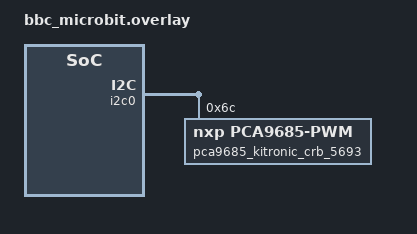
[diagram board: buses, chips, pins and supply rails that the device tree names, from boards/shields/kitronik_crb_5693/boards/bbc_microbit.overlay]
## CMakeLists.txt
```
# SPDX-License-Identifier: Apache-2.0

cmake_minimum_required(VERSION 3.20.0)

# Define board root to find our custom shield
set(BOARD_ROOT ${CMAKE_SOURCE_DIR})

# Default board to microbit v2
if (NOT DEFINED ${BOARD})
  set(BOARD bbc_microbit_v2)
endif()

set(SHIELD kitronik_crb_5693)


find_package(Zephyr REQUIRED HINTS $ENV{ZEPHYR_BASE})
project(slashbitbot)

FILE(GLOB app_sources src/*.cpp)
target_sources(app PRIVATE ${app_sources})
```

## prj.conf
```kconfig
CONFIG_GPIO=y
CONFIG_DISPLAY=y
CONFIG_MICROBIT_DISPLAY=y
CONFIG_CPP=y
CONFIG_STD_CPP20=y
CONFIG_GLIBCXX_LIBCPP=y
CONFIG_REBOOT=y
CONFIG_CBPRINTF_FP_SUPPORT=y
CONFIG_NRFX_NFCT=n
CONFIG_FPU=y
CONFIG_FPU_SHARING=y
CONFIG_FLASH=y
CONFIG_FLASH_PAGE_LAYOUT=y
CONFIG_NVS=y
CONFIG_LOG_MODE_IMMEDIATE=y
CONFIG_NVS_LOG_LEVEL_DBG=y
CONFIG_MPU_ALLOW_FLASH_WRITE=y
```

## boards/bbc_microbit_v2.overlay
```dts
&nfct {
        status = "disabled";
};

&uicr { 
        nfct-pins-as-gpios; 
};

/ {                                                                                                  
        zephyr,user {                                                                                
                left-wheel-gpios = <&edge_connector 9 GPIO_ACTIVE_LOW>;
                right-wheel-gpios = <&edge_connector 8 GPIO_ACTIVE_LOW>;
        };                                                                                           

};
```

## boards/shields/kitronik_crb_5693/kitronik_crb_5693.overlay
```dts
/*                                                                                                   
 * Copyright (c) 2023 Jaap Versteegh <j.r.versteegh@gmail.com>                                                 
 *                                                                                                   
 * SPDX-License-Identifier: Apache-2.0                                                               
 */                                                                                                  

/ {                                                                                                  

  servos {
    compatible = "pwm-servos";                                                             
    servo0: servo_0 {                                                                                    
      pwms = <&pca9685_kitronic_crb_5693 0 PWM_MSEC(40)>;
      min-pulse = <PWM_USEC(700)>;
      max-pulse = <PWM_USEC(2500)>;
    };

    servo1: servo_1 {                                                                                    
      pwms = <&pca9685_kitronic_crb_5693 1 PWM_MSEC(40)>;
      min-pulse = <PWM_USEC(700)>;
      max-pulse = <PWM_USEC(2500)>;
    };

    servo2: servo_2 {                                                                                    
      pwms = <&pca9685_kitronic_crb_5693 2 PWM_MSEC(40)>;
      min-pulse = <PWM_USEC(700)>;
      max-pulse = <PWM_USEC(2500)>;
    };

    servo3: servo_3 {                                                                                    
      pwms = <&pca9685_kitronic_crb_5693 3 PWM_MSEC(40)>;
      min-pulse = <PWM_USEC(700)>;
      max-pulse = <PWM_USEC(2500)>;
    };

    servo4: servo_4 {                                                                                    
      pwms = <&pca9685_kitronic_crb_5693 4 PWM_MSEC(40)>;
      min-pulse = <PWM_USEC(700)>;
      max-pulse = <PWM_USEC(2500)>;
    };

    servo5: servo_5 {                                                                                    
      pwms = <&pca9685_kitronic_crb_5693 5 PWM_MSEC(40)>;
      min-pulse = <PWM_USEC(700)>;
      max-pulse = <PWM_USEC(2500)>;
    };

    servo6: servo_6 {                                                                                    
      pwms = <&pca9685_kitronic_crb_5693 6 PWM_MSEC(40)>;
      min-pulse = <PWM_USEC(700)>;
      max-pulse = <PWM_USEC(2500)>;
    };

    servo7: servo_7 {                                                                                    
      pwms = <&pca9685_kitronic_crb_5693 7 PWM_MSEC(40)>;
      min-pulse = <PWM_USEC(700)>;
      max-pulse = <PWM_USEC(2500)>;
    };
  };

  motors {
    compatible = "pwm-motors";                                                             

    motor0: motor_0 {                                                                                    
      pwms = <&pca9685_kitronic_crb_5693 9 PWM_MSEC(40)>,
             <&pca9685_kitronic_crb_5693 8 PWM_MSEC(40)>;
    };

    motor1: motor_1 {                                                                                    
      pwms = <&pca9685_kitronic_crb_5693 11 PWM_MSEC(40)>,
             <&pca9685_kitronic_crb_5693 10 PWM_MSEC(40)>;
    };

    motor2: motor_2 {                                                                                    
      pwms = <&pca9685_kitronic_crb_5693 13 PWM_MSEC(40)>,
             <&pca9685_kitronic_crb_5693 12 PWM_MSEC(40)>;
    };

    motor3: motor_3 {                                                                                    
      pwms = <&pca9685_kitronic_crb_5693 15 PWM_MSEC(40)>,
             <&pca9685_kitronic_crb_5693 14 PWM_MSEC(40)>;
    };
  };

};
```

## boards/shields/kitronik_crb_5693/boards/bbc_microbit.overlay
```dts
/*                                                                                                   
 * Copyright (c) 2023 Jaap Versteegh <j.r.versteegh@gmail.com>                                                 
 *                                                                                                   
 * SPDX-License-Identifier: Apache-2.0                                                               
 */                                                                                                  

&i2c0 {
  pca9685_kitronic_crb_5693: pca9685@6c {                                                      
    status = "okay";                                                                    
    compatible = "nxp,pca9685-pwm";                                                     
    reg = <0x6c>;                                                                       
    #pwm-cells = <2>;                                                                   
  };
};
```

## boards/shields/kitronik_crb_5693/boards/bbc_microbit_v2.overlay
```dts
/*                                                                                                   
 * Copyright (c) 2023 Jaap Versteegh <j.r.versteegh@gmail.com>                                                 
 *                                                                                                   
 * SPDX-License-Identifier: Apache-2.0                                                               
 */                                                                                                  

&i2c1 {
  status = "okay";
  clock-frequency = <I2C_BITRATE_FAST>;

  pinctrl-0 = <&i2c1_default>;
  pinctrl-1 = <&i2c1_sleep>;
  pinctrl-names = "default", "sleep";

  pca9685_kitronic_crb_5693: pca9685@6c {                                                      
    status = "okay";                                                                    
    compatible = "nxp,pca9685-pwm";                                                     
    reg = <0x6c>;                                                                       
    #pwm-cells = <2>;                                                                   
  };
};                                                                                                   

&pinctrl {
  i2c1_default: i2c1_default {
    group1 {
      psels = <NRF_PSEL(TWIM_SDA, 1, 0)>,
              <NRF_PSEL(TWIM_SCL, 0, 26)>;
    };
  };

  i2c1_sleep: i2c1_sleep {
    group1 {
      psels = <NRF_PSEL(TWIM_SDA, 1, 0)>,
              <NRF_PSEL(TWIM_SCL, 0, 26)>;
      low-power-enable;
    };
  };
};
```

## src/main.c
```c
/*
 * Copyright (c) 2017 Intel Corporation
 *
 * SPDX-License-Identifier: Apache-2.0
 */

#include <zephyr/kernel.h>
#include <zephyr/sys/printk.h>
#include <zephyr/drivers/gpio.h>
#include <zephyr/device.h>
#include <zephyr/drivers/sensor.h>
#include <zephyr/drivers/pwm.h>
#include <zephyr/drivers/i2c.h>
#include <zephyr/display/mb_display.h>
#include <zephyr/sys/reboot.h>

static struct mb_image smile = MB_IMAGE(
    { 0, 1, 0, 1, 0 },
    { 0, 1, 0, 1, 0 },
    { 0, 0, 0, 0, 0 },
    { 1, 0, 0, 0, 1 },
    { 0, 1, 1, 1, 0 }
);

static struct mb_image laugh1 = MB_IMAGE(
    { 1, 1, 0, 1, 1 },
    { 0, 0, 0, 0, 0 },
    { 1, 1, 1, 1, 1 },
    { 1, 0, 0, 0, 1 },
    { 0, 1, 1, 1, 0 }
);
static struct mb_image laugh2 = MB_IMAGE(
    { 1, 1, 0, 1, 1 },
    { 0, 0, 0, 0, 0 },
    { 1, 0, 0, 0, 1 },
    { 1, 1, 1, 1, 1 },
    { 0, 1, 1, 1, 0 }
);

static struct mb_image sad1 = MB_IMAGE(
    { 1, 0, 0, 0, 0 },
    { 0, 1, 0, 1, 1 },
    { 0, 0, 0, 0, 0 },
    { 0, 1, 1, 1, 0 },
    { 1, 0, 0, 0, 1 }
);
static struct mb_image sad2 = MB_IMAGE(
    { 0, 0, 0, 0, 1 },
    { 1, 1, 0, 1, 0 },
    { 0, 0, 0, 0, 0 },
    { 0, 1, 1, 1, 0 },
    { 1, 0, 0, 0, 1 }
);
static struct mb_image sad3 = MB_IMAGE(
    { 1, 0, 0, 0, 1 },
    { 0, 1, 0, 1, 0 },
    { 0, 0, 0, 0, 0 },
    { 0, 1, 1, 1, 0 },
    { 1, 0, 0, 0, 1 }
);
static struct mb_image sad4 = MB_IMAGE(
    { 0, 0, 0, 0, 0 },
    { 1, 1, 0, 1, 1 },
    { 0, 0, 0, 0, 0 },
    { 0, 1, 1, 1, 0 },
    { 1, 0, 0, 0, 1 }
);

static struct mb_image woot = MB_IMAGE(
    { 1, 1, 0, 1, 1 },
    { 0, 0, 0, 0, 0 },
    { 0, 0, 1, 0, 0 },
    { 0, 1, 0, 1, 0 },
    { 0, 0, 1, 0, 0 }
);

static double x = 0.0;
static double y = 0.0;
static double z = 0.0;

static int32_t read_sensor(const struct device *sensor,
    enum sensor_channel channel)
{
  struct sensor_value val[3];
  int32_t ret = 0;

  ret = sensor_sample_fetch(sensor);
  if (ret < 0 && ret != -EBADMSG) {
    printk("Sensor sample update error\n");
    goto end;
  }

  ret = sensor_channel_get(sensor, channel, val);
  if (ret < 0) {
    printk("Cannot read sensor channels\n");
    goto end;
  }

  x = sensor_value_to_double(&val[0]);
  y = sensor_value_to_double(&val[1]);
  z = sensor_value_to_double(&val[2]);
end:
  return ret;
}


int main(void) {
  const struct device *const accelerometer = DEVICE_DT_GET(DT_ALIAS(accel0));
  const struct device *const magnetometer = DEVICE_DT_GET(DT_ALIAS(magn0));

  // Upon power on this will happen (not sure why). Will be fine after MCU reset
  if (!device_is_ready(accelerometer) || !device_is_ready(magnetometer)) {
    printk("Device %s is not ready\n", accelerometer->name);
    sys_reboot(SYS_REBOOT_COLD);
    return 1;
  }

  const struct pwm_dt_spec motor0 = PWM_DT_SPEC_GET(DT_NODELABEL(motor0));
  const struct pwm_dt_spec motor1 = PWM_DT_SPEC_GET(DT_NODELABEL(motor1));

  struct mb_display *disp = mb_display_get();

  mb_display_image(disp, MB_DISPLAY_MODE_SINGLE, 4000, &smile, 1);

  k_sleep(K_SECONDS(4));

  if (read_sensor(accelerometer, SENSOR_CHAN_ACCEL_XYZ) < 0) {
    printk("Couldn't read acceleration");
    mb_display_image(disp, MB_DISPLAY_MODE_SINGLE, 2000, &woot, 1);
    k_sleep(K_SECONDS(2));
    sys_reboot(SYS_REBOOT_COLD);
    return 1;
  }
  printk("Acceleration: %f, %f ,%f\n", x, y, z);

  if (!pwm_is_ready_dt(&motor0)) {
    printk("Error: Motor %s is not ready\n", motor0.dev->name);
    mb_display_image(disp, MB_DISPLAY_MODE_SINGLE, 2000, &sad3, 1);
    k_sleep(K_SECONDS(2));
    sys_reboot(SYS_REBOOT_COLD);
    return 1;
  }

  if (!pwm_is_ready_dt(&motor1)) {
    printk("Error: Motor %s is not ready\n", motor1.dev->name);
    mb_display_image(disp, MB_DISPLAY_MODE_SINGLE, 2000, &sad4, 1);
    k_sleep(K_SECONDS(2));
    sys_reboot(SYS_REBOOT_COLD);
    return 1;
  }

  int pulse = 0;
  int ret;

  while (true) {

    ret = pwm_set_pulse_dt(&motor0, PWM_USEC(((pulse * 400) % 40000)));
    if (ret != 0) {
      mb_display_image(disp, MB_DISPLAY_MODE_SINGLE, 2000, &sad1, 1);
      k_sleep(K_SECONDS(2));
      sys_reboot(SYS_REBOOT_COLD);
      return 1;
    }

    ret = pwm_set_pulse_dt(&motor1, PWM_USEC(((pulse * 400) + 20000) % 40000));
    if (ret != 0) {
      mb_display_image(disp, MB_DISPLAY_MODE_SINGLE, 2000, &sad2, 1);
      k_sleep(K_SECONDS(2));
      sys_reboot(SYS_REBOOT_COLD);
      return 1;
    }

    if (pulse % 2 == 0) {
      mb_display_image(disp, MB_DISPLAY_MODE_SINGLE, 1000, &laugh1, 1);
    }
    else {
      mb_display_image(disp, MB_DISPLAY_MODE_SINGLE, 1000, &laugh2, 1);
    }
    ++pulse;
    k_sleep(K_SECONDS(1));
    if (pulse > 100) {
      sys_reboot(SYS_REBOOT_COLD);
    }
  }

  return 0;
}
```

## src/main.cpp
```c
/*
 * Copyright (c) 2017 Intel Corporation
 *
 * SPDX-License-Identifier: Apache-2.0
 */

#include <zephyr/kernel.h>
#include <zephyr/drivers/gpio.h>
#include <zephyr/device.h>
#include <zephyr/drivers/sensor.h>
#include <zephyr/drivers/i2c.h>

#include "display.h"
#include "errors.h"
#include "storage.h"
#include "sensors.h"
#include "motors.h"
#include "motion.h"

void motor_non_linearity_test() {
  printk("Test motors non-linearity:\n");
  set_motors(Motors_setting{0.0, 0.0});
  auto wheel_counters = get_wheel_counters();
  for (Number f = 0.0; f <= 4.0; f += 0.05) {
    auto s = f;
    if (f > 3.0) {
      s -= 4.0;
    }
    else if (f > 1.0) {
      s = 2.0 - f;
    }
    set_motors(Motors_setting{s, s});
    k_sleep(K_SECONDS(5));
    auto wheel_delta = wheel_counters.delta(get_wheel_counters());
    printk("%5.2f, %3d, %3d\n", s, wheel_delta.left, wheel_delta.right);
  }
}

static const struct gpio_dt_spec sw0_gpio = GPIO_DT_SPEC_GET(DT_ALIAS(sw0), gpios);
static const struct gpio_dt_spec sw1_gpio = GPIO_DT_SPEC_GET(DT_ALIAS(sw1), gpios);

static void button_pressed(const device *dev, gpio_callback *cb, uint32_t pins) {
  if (pins & BIT(sw0_gpio.pin)) {
    printk("A pressed\n");
  } else {
    printk("B pressed\n");
  }
}

void print_sensors() {
  auto acceleration = get_acceleration();
  printk("Acceleration: %.4f, %.4f, %.4f\n", acceleration.x, acceleration.y, acceleration.z);

  auto mag_field = get_magfield();
  printk("Mag field: %.4f, %.4f, %.4f\n", mag_field.x, mag_field.y, mag_field.z);

  auto counters = get_wheel_counters();
  printk("Wheel left: %d, right: %d\n", counters.left, counters.right);
}

static void initialize_buttons() {
  static struct gpio_callback button_cb_data;

  if (!gpio_is_ready_dt(&sw0_gpio) || !gpio_is_ready_dt(&sw1_gpio)) {
    error(0, "Button io not ready.");
    return;
  }

  gpio_pin_configure_dt(&sw0_gpio, GPIO_INPUT);
  gpio_pin_configure_dt(&sw1_gpio, GPIO_INPUT);

  gpio_pin_interrupt_configure_dt(&sw0_gpio, GPIO_INT_EDGE_TO_ACTIVE);
  gpio_pin_interrupt_configure_dt(&sw1_gpio, GPIO_INT_EDGE_TO_ACTIVE);

  gpio_init_callback(&button_cb_data, button_pressed,
      BIT(sw0_gpio.pin) | BIT(sw1_gpio.pin));

  gpio_add_callback(sw0_gpio.port, &button_cb_data);
}

int main(void) {
  printk("SlashBitBot initializing...\n");
  initialize_buttons();
  initialize_storage();
  initialize_sensors();
  initialize_motors();

  // When button A pressed at startup: calibrate motors
  if (gpio_pin_get_dt(&sw0_gpio)) {
    calibrate_motors();
  }

  // Start motion control
  initialize_motion();

  show_smile(4);
  k_sleep(K_SECONDS(4));

  printk("SlashBitBot running...\n");
  //motor_non_linearity_test();
  int i = 0;
  while (true) {
    if (gpio_pin_get_dt(&sw1_gpio)) {
      print_sensors();
    }

    if (i % 2 == 0) {
      show_laugh(1, 0);
    }
    else {
      show_laugh(1, 1);
    }
    ++i;
    k_sleep(K_SECONDS(1));
  }

  printk("SlashBitBot done.\n");
  return 0;
}
```

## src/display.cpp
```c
#include <zephyr/display/mb_display.h>

static mb_image smile[] = {
  MB_IMAGE(
    { 0, 1, 0, 1, 0 },
    { 0, 1, 0, 1, 0 },
    { 0, 0, 0, 0, 0 },
    { 1, 0, 0, 0, 1 },
    { 0, 1, 1, 1, 0 }
  )
};

static mb_image laugh[] = {
  MB_IMAGE(
    { 1, 1, 0, 1, 1 },
    { 0, 0, 0, 0, 0 },
    { 1, 1, 1, 1, 1 },
    { 1, 0, 0, 0, 1 },
    { 0, 1, 1, 1, 0 }
  ),
  MB_IMAGE(
    { 1, 1, 0, 1, 1 },
    { 0, 0, 0, 0, 0 },
    { 1, 0, 0, 0, 1 },
    { 1, 1, 1, 1, 1 },
    { 0, 1, 1, 1, 0 }
  )
};

static mb_image sad[] = {
  MB_IMAGE(
    { 1, 0, 0, 0, 0 },
    { 0, 1, 0, 1, 1 },
    { 0, 0, 0, 0, 0 },
    { 0, 1, 1, 1, 0 },
    { 1, 0, 0, 0, 1 }
  ),
  MB_IMAGE(
    { 0, 0, 0, 0, 1 },
    { 1, 1, 0, 1, 0 },
    { 0, 0, 0, 0, 0 },
    { 0, 1, 1, 1, 0 },
    { 1, 0, 0, 0, 1 }
  ),
  MB_IMAGE(
    { 1, 0, 0, 0, 1 },
    { 0, 1, 0, 1, 0 },
    { 0, 0, 0, 0, 0 },
    { 0, 1, 1, 1, 0 },
    { 1, 0, 0, 0, 1 }
  ),
  MB_IMAGE(
    { 0, 0, 0, 0, 0 },
    { 1, 1, 0, 1, 1 },
    { 0, 0, 0, 0, 0 },
    { 0, 1, 1, 1, 0 },
    { 1, 0, 0, 0, 1 }
  )
};

static mb_image woot[] = {
  MB_IMAGE(
    { 1, 1, 0, 1, 1 },
    { 0, 0, 0, 0, 0 },
    { 0, 0, 1, 0, 0 },
    { 0, 1, 0, 1, 0 },
    { 0, 0, 1, 0, 0 }
  )
};

void show_smile(int duration, int index) {
  mb_display *disp = mb_display_get();
  mb_display_image(disp, MB_DISPLAY_MODE_SINGLE, duration * 1000, &smile[index], 1);
}

void show_laugh(int duration, int index) {
  mb_display *disp = mb_display_get();
  mb_display_image(disp, MB_DISPLAY_MODE_SINGLE, duration * 1000, &laugh[index], 1);
}

void show_sad(int duration, int index) {
  mb_display *disp = mb_display_get();
  mb_display_image(disp, MB_DISPLAY_MODE_SINGLE, duration * 1000, &sad[index], 1);
}

void show_woot(int duration, int index) {
  mb_display *disp = mb_display_get();
  mb_display_image(disp, MB_DISPLAY_MODE_SINGLE, duration * 1000, &woot[index], 1);
}
```

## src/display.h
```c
#ifndef SLASHBITBOT_DISPLAY_H__
#define SLASHBITBOT_DISPLAY_H__

void show_smile(int duration, int index=0);
void show_laugh(int duration, int index=0);
void show_sad(int duration, int index=0);
void show_woot(int duration, int index=0);

#endif
```

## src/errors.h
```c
#ifndef SLASHBITBOT_ERRORS_H__
#define SLASHBITBOT_ERRORS_H__

#include <zephyr/kernel.h>
#include <zephyr/sys/printk.h>
#include <zephyr/sys/reboot.h>

#include "display.h"

// We don't have user input so OK with non literal format strings
#pragma GCC diagnostic ignored "-Wformat-security"


template <typename... Args>
inline void error(int category, char const* const message, Args... args) {
  printk(message, args...);
  printk("\n");
  show_sad(2, category);
  k_sleep(K_SECONDS(2));
  sys_reboot(SYS_REBOOT_COLD);
}

#endif
```

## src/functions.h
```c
#ifndef SLASHBITBOT_FUNCTIONS_H__
#define SLASHBITBOT_FUNCTIONS_H__

#include <numbers>
#include <cmath>

using Number = float;

static constexpr Number pi = std::numbers::pi_v<Number>;

inline Number angle_mod(Number const angle) {
  Number result = std::fmod(angle, 360.0);
  return result < 0.0 ? result + 360.0 : result;
}

inline Number angle_mod_signed(Number const angle) {
  Number result = std::fmod(angle, 360.0);
  return result < -180.0 ? result + 360.0 : result >= 180.0 ? result - 360.0 : result;
}

inline Number angle_diff(Number const angle1, Number const angle2) {
  return angle_mod_signed(angle1 - angle2);
}

#endif
```

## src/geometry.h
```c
#ifndef SLASHBITBOT_GEOMETRY_H__
#define SLASHBITBOT_GEOMETRY_H__

#include "functions.h"

static constexpr Number width = 0.125;
static constexpr Number wheel_diameter = 0.083;
static constexpr int ticks_per_revolution = 24;
static constexpr Number wheel_step = pi * wheel_diameter / ticks_per_revolution;

#endif
```

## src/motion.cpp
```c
#include <zephyr/kernel.h>

#include "functions.h"
#include "motors.h"
#include "sensors.h"
#include "motion.h"

static constexpr int stack_size = 512;
static constexpr int priority = -2;
static constexpr int clock_speed = 100; // Hz for control loop
static constexpr int clock_step = 1000 / clock_speed;

// Motion model parameters
static constexpr Number motion_update_rate = 0.25;
static constexpr Number max_backup_distance = 0.1;


static Locor actual_locor{};
static Locor target_locor{};
static Motion motion{};
static Motor_speeds motor_speeds{};

static k_thread motion_control_thread;
static K_THREAD_STACK_DEFINE(motion_control_stack, stack_size);
static k_mutex motion_control_mutex;

struct Motion_control_mutex {
  Motion_control_mutex() {
    k_mutex_lock(&motion_control_mutex, K_FOREVER);
  }

  ~Motion_control_mutex() {
    k_mutex_unlock(&motion_control_mutex);
  }
};

void update_locor_motion() {
  static Wheel_counters last_wheel_counters{};
  Wheel_counters wheel_counters = get_wheel_counters();
  if (wheel_counters != last_wheel_counters) {
    auto delta = wheel_counters - last_wheel_counters;
    RelativeVector motion_step = {
      wheel_step * Number(0.5) * (delta.left + delta.right),
      wheel_step * (delta.left - delta.right) / width
    };
    actual_locor += motion_step;
    auto wheel_speeds = get_wheel_speeds();
    motion.update(
        wheel_speeds.get_speed(),
        wheel_speeds.get_rot(),
        motion_update_rate
    );
    last_wheel_counters = wheel_counters;
  }
}

void control_motors(Motor_speeds const& speeds) {
  if (speeds != motor_speeds) {
    set_motors(speeds);
    motor_speeds = speeds;
  }
}

void control_motion(void*, void*, void*) {
  int i = 0;
  while (true) {
    {
      Motion_control_mutex lock{};

      // Motion updates can happen at a lower rate
      if (i % 10 == 0) {
        update_locor_motion();
      }

      auto acceleration = get_acceleration();

      // Fall detection...
      if (std::fabs(acceleration.x) > Number(6.0)) {
        // Stop motors and do nothing when tipped over
        control_motors({0.0, 0.0});
      }
      else {
        RelativeVector vector = target_locor - actual_locor;
        // Consider whether to backup or turn around
        if (std::fabs(vector.heading) > pi / 2 && vector.r < max_backup_distance) {
          vector.flip_sign();
        }
        auto wheel_speeds = get_wheel_speeds();
        // Get a speed estimate
        Number speed = 0.333 * wheel_speeds.get_speed() + 0.333 * motor_speeds.get_speed() + 0.333 * motion.get_speed();
        Number rot = 0.333 * wheel_speeds.get_rot() + 0.333 * motor_speeds.get_rot() + 0.333 * motion.get_rot();
        Number desired_speed = std::copysign(std::min(std::sqrt(std::abs(vector.r), 0.3), vector.r);
        Number desired_rot = std::copysign(std::min(std::sqrt(std::abs(vector.heading), 0.3), vector.heading);
        desired_speed += -0.5 * acceleration.x;
      }
    }
    k_msleep(clock_step);
    ++i;
  }
}

void initialize_motion() {
  k_mutex_init(&motion_control_mutex);
  // Start motion control
  k_thread_create(&motion_control_thread, motion_control_stack, stack_size,
      control_motion, nullptr, nullptr, nullptr, priority, K_FP_REGS, K_NO_WAIT);
}

Locor get_locor() {
  Motion_control_mutex lock{};
  return actual_locor;
}

void move(Vector const& v) {
  Motion_control_mutex lock{};
  target_locor = actual_locor;
  target_locor += v;
}

void move(RelativeVector const& rv) {
  Motion_control_mutex lock{};
  target_locor = actual_locor;
  target_locor += rv;
}
```

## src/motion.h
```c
#ifndef SLASHBITBOT_MOTION_H__
#define SLASHBITBOT_MOTION_H__

#include <cmath>

#include "functions.h"
#include "geometry.h"

struct Vector {
  Number r{};
  Number heading{};
};

struct Path {
  Number r{};
  Number begin_heading{};
  Number end_heading{};
};

struct RelativeVector: public Vector {
  void flip_sign() {
    r = -r;
    heading = angle_mod_signed(heading + pi);
  }
};

struct RelativePath: public Path {
};

struct Motion {
  Number speed{};
  Number rot{};
  void update(Number const& speed, Number const& rot, Number rate) {
    update(Motion{speed, rot}, rate);
  }
  void update(Motion const& motion, Number rate) {
    speed = motion.speed * rate + speed * (1 - rate);
    rot = motion.rot * rate + rot * (1 - rate);
  }
};

struct Location {
  Number x{};
  Number y{};
};

struct Locor: public Location {
  Number heading{};
  Locor& operator+=(Vector const& v) {
    heading = v.heading;
    x += std::cos(heading) * v.r;
    y += std::sin(heading) * v.r;
    return *this;
  }
  Locor& operator+=(RelativeVector const& rv) {
    heading = angle_mod(heading + rv.heading);
    x += std::cos(heading) * rv.r;
    y += std::sin(heading) * rv.r;
    return *this;
  }
  Location& location() {
    return *this;
  }
};

inline Vector operator-(Location const& loc1, Location const& loc2) {
  auto dx = loc1.x - loc2.x;
  auto dy = loc1.y - loc2.y;
  return Vector{
    std::sqrt(dx * dx + dy * dy),
    angle_mod(std::atan2(dy, dx))
  };
}

inline RelativeVector operator-(Locor const& locor1, Locor const& locor2) {
  auto dx = locor1.x - locor2.x;
  auto dy = locor1.y - locor2.y;
  return RelativeVector{
    std::sqrt(dx * dx + dy * dy),
    angle_diff(std::atan2(dy, dx), locor2.heading)
  };
}

void initialize_motion();

Locor get_locor();
void move(Vector const& v);
void move(RelativeVector const& rv);

#endif
```

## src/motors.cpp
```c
#include <cmath>
#include <array>
#include <algorithm>
#include <functional>

#include <zephyr/kernel.h>
#include <zephyr/device.h>
#include <zephyr/drivers/pwm.h>

#include "errors.h"
#include "sensors.h"
#include "storage.h"
#include "motors.h"

static constexpr int num_motors = 2;
static constexpr int num_pwms = 2 * num_motors;
static constexpr size_t num_converter_steps = 10;
static constexpr int converter_storage_id = 1;

using pwm_dt_specs = pwm_dt_spec[num_pwms];

struct Speed_to_setting_converter {
  Number max_speed{1.0};
  std::array<Number, num_converter_steps + 1> settings{};

  Number operator()(Number const& speed) {
    if (speed <= 0.0) {
      return 0.0;
    }
    else {
      auto ratio = speed / max_speed;
      if (ratio >= 1.0) {
        return settings[num_converter_steps];
      }
      else {
        auto trunc = std::trunc(num_converter_steps * ratio);
        auto index = std::lround(trunc);
        auto frac = (ratio - trunc) * num_converter_steps;
        return settings[index] * (1.0 - frac) + settings[index + 1] * frac;
      }
    }
  }
};

struct Speed_to_setting_converters {
  Speed_to_setting_converter left_forward{};
  Speed_to_setting_converter left_backward{};
  Speed_to_setting_converter right_forward{};
  Speed_to_setting_converter right_backward{};

  // The duplication for left and right motors
  // is annoying: TODO fix that at some point
  Number left(Number const& speed) {
    if (speed < 0.0) {
      return -left_backward(-speed);
    }
    else {
      return left_forward(speed);
    }
  }

  Number right(Number const& speed) {
    if (speed < 0.0) {
      return -right_backward(-speed);
    }
    else {
      return right_forward(speed);
    }
  }

  void calibrate(
      Speed_to_setting_converter& converter,
      Number const& max_speed,
      std::function<Number(void)> get_speed,
      std::function<void(Number)> set_setting
  ) {
    static constexpr int num_runs = 4;
    for (size_t i = 0; i <= num_converter_steps; ++i) {
      converter.settings[i] = 0.0;
    }
    for (int run = 1; run < num_runs + 1; ++run) {
      printk("Run: %d.\n", run);
      printk("Find start threshold.\n");
      converter.max_speed = max_speed;
      Number setting = 0.0;
      set_setting(setting);
      k_sleep(K_MSEC(2000));
      while (get_speed() == 0.0) {
        setting += 0.01;
        set_setting(setting);
        k_sleep(K_MSEC(2000));
      }
      converter.settings[0] += setting * (1.0 / num_runs);
      printk("Start threshold: %.2f\n", setting);
      for (size_t i = 1; i <= num_converter_steps; ++i) {
        auto speed_threshold = i * max_speed / num_converter_steps;
        Number speed = 0;
        while (speed < speed_threshold) {
          setting += setting < 0.28 ? 0.01 : 0.02;
          set_setting(setting);
          k_sleep(K_MSEC(1000));
          speed = get_speed();
          printk("Speed: %.3f / %.3f\n", speed, speed_threshold);
        }
        k_sleep(K_MSEC(1000));
        printk("Setting %2d: %.2f\n", i, setting);
        converter.settings[i] += setting * (1.0 / num_runs);
      }
    }
    for (size_t i = 0; i <= num_converter_steps; ++i) {
      printk("Table: %2d: %.3f\n", i, converter.settings[i]);
    }
    set_setting(0.0);
  }

  void calibrate() {
    printk("Calibrating motors.\n");
    k_sleep(K_SECONDS(5));
    set_motors(Motors_setting{1.0, 1.0});
    k_sleep(K_SECONDS(2));
    auto max_speeds_forward = get_wheel_speeds();
    set_motors(Motors_setting{-1.0, -1.0});
    k_sleep(K_SECONDS(2));
    auto max_speeds_backward = get_wheel_speeds();
    set_motors(Motors_setting{0.0, 0.0});
    auto max_speed = std::min(
        std::min(max_speeds_forward.left, max_speeds_forward.right),
        std::min(-max_speeds_backward.left, -max_speeds_backward.right)
    );
    printk("Max speed: %.3f\n", max_speed);
    printk("Left forward:\n");
    calibrate(left_forward, max_speed,
        [](){ return get_wheel_speeds().left; },
        [](Number const& s){ return set_motors(Motors_setting{s, 0.0}); }
    );
    printk("Right forward:\n");
    calibrate(right_forward, max_speed,
        [](){ return get_wheel_speeds().right; },
        [](Number const& s){ return set_motors(Motors_setting{0.0, s}); }
    );
    printk("Left backward:\n");
    calibrate(left_backward, max_speed,
        [](){ return -get_wheel_speeds().left; },
        [](Number const& s){ return set_motors(Motors_setting{-s, 0.0}); }
    );
    printk("Right backward:\n");
    calibrate(right_backward, max_speed,
        [](){ return -get_wheel_speeds().right; },
        [](Number const& s){ return set_motors(Motors_setting{0.0, -s}); }
    );
    store_object(converter_storage_id, *this);
  }
};

static Speed_to_setting_converters speed_to_setting{};

int left_motor_dir = 1;
int right_motor_dir = 1;

static pwm_dt_specs const pwms = {
  PWM_DT_SPEC_GET_BY_IDX(DT_NODELABEL(motor0), 0),
  PWM_DT_SPEC_GET_BY_IDX(DT_NODELABEL(motor0), 1),
  PWM_DT_SPEC_GET_BY_IDX(DT_NODELABEL(motor1), 0),
  PWM_DT_SPEC_GET_BY_IDX(DT_NODELABEL(motor1), 1)
};

void initialize_motors() {
  for (int i = 0; i < num_pwms; ++i) {
    if (!pwm_is_ready_dt(&pwms[i])) {
      error(0, "Error: Motor %s is not ready\n", pwms[i].dev->name);
      return;
    }
  }
  set_motors(Motors_setting{0.0, 0.0});
  if (!load_object(converter_storage_id, speed_to_setting)) {
    printk("Failed to load motor conversions. Not calibrated?\n");
  }
}

void calibrate_motors() {
  speed_to_setting.calibrate();
}

void set_motors(Motors_setting const& setting) {
  int ret = 0;
  if (setting.left > 0.0) {
    ret |= pwm_set_pulse_dt(&pwms[1], 0);
    ret |= pwm_set_pulse_dt(&pwms[0], PWM_NSEC(static_cast<int32_t>(setting.left * pwms[0].period)));
    left_motor_dir = 1;
  }
  else {
    ret |= pwm_set_pulse_dt(&pwms[0], 0);
    ret |= pwm_set_pulse_dt(&pwms[1], PWM_NSEC(static_cast<int32_t>(-setting.left * pwms[1].period)));
    left_motor_dir = -1;
  }
  if (setting.right > 0.0) {
    ret |= pwm_set_pulse_dt(&pwms[3], 0);
    ret |= pwm_set_pulse_dt(&pwms[2], PWM_NSEC(static_cast<int32_t>(setting.right * pwms[2].period)));
    right_motor_dir = 1;
  }
  else {
    ret |= pwm_set_pulse_dt(&pwms[2], 0);
    ret |= pwm_set_pulse_dt(&pwms[3], PWM_NSEC(static_cast<int32_t>(-setting.right * pwms[3].period)));
    right_motor_dir = -1;
  }
  if (ret != 0) {
    error(2, "Failed to set motor pwm");
  }
}

void set_motors(Motor_speeds const& speeds) {
  set_motors(Motors_setting{
      speed_to_setting.left(speeds.left),
      speed_to_setting.right(speeds.right)
  });
}
```

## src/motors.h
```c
#ifndef SLASHBITBOT_MOTORS_H__
#define SLASHBITBOT_MOTORS_H__

#include "functions.h"
#include "geometry.h"

struct Motors_setting {
  Number left;
  Number right;
  auto operator<=>(Motors_setting const&) const = default;
};

struct Motor_speeds: public Motors_setting {
  Number get_speed() {
    return 0.5 * (left + right);
  }
  Number get_rot() {
    return (left - right) / width;
  }
};

void initialize_motors();
void set_motors(Motors_setting const& setting);
void set_motors(Motor_speeds const& speeds);
void calibrate_motors();

extern int left_motor_dir;
extern int right_motor_dir;

#endif
```

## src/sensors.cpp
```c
#include <type_traits>
#include <zephyr/kernel.h>
#include <zephyr/drivers/gpio.h>
#include <zephyr/device.h>
#include <zephyr/drivers/sensor.h>

#include "errors.h"
#include "sensors.h"
#include "motors.h"
#include "geometry.h"

static constexpr Number wheel_speed_update_factor = 0.25;

static gpio_dt_spec const left_wheel_gpio = GPIO_DT_SPEC_GET(DT_PATH(zephyr_user), left_wheel_gpios);
static  gpio_dt_spec const right_wheel_gpio = GPIO_DT_SPEC_GET(DT_PATH(zephyr_user), right_wheel_gpios);
static device const* const accelerometer = DEVICE_DT_GET(DT_ALIAS(accel0));
// Compass is useless because of the nearby motors, but initialize anyway
static device const* const magnetometer = DEVICE_DT_GET(DT_ALIAS(magn0));

static int left_wheel_counter = 0;
static int right_wheel_counter = 0;
static Number left_wheel_speed = 0;
static Number right_wheel_speed = 0;

static struct gpio_callback left_wheel_callback;
static struct gpio_callback right_wheel_callback;

static int64_t last_left_time = 0;
static int64_t last_right_time = 0;

static void left_wheel_irq(const struct device *dev, struct gpio_callback *cb, uint32_t pins)
{
  auto delta = k_uptime_get() - last_left_time;
  // Debounce by requiring more than 10ms between counts
  if (delta > 10) {
    left_wheel_counter += left_motor_dir;
    left_wheel_speed = (1 - wheel_speed_update_factor) * left_wheel_speed
                     + wheel_speed_update_factor * wheel_step * left_motor_dir * 1000.0 / delta;
    last_left_time += delta;
  }
}

static void right_wheel_irq(const struct device *dev, struct gpio_callback *cb, uint32_t pins)
{
  auto delta = k_uptime_get() - last_right_time;
  // Debounce by requiring more than 10ms between counts
  if (delta > 10) {
    right_wheel_counter += right_motor_dir;
    right_wheel_speed = (1 - wheel_speed_update_factor) * right_wheel_speed
                      + wheel_speed_update_factor * wheel_step * right_motor_dir * 1000.0 / delta;
    last_right_time += delta;
  }
}

Wheel_counters get_wheel_counters() {
  return Wheel_counters({left_wheel_counter, right_wheel_counter});
}

Wheel_speeds get_wheel_speeds() {
  auto now = k_uptime_get();
  if (now - last_left_time > 900) {
    left_wheel_speed = 0.0;
  }
  if (now - last_right_time > 900) {
    right_wheel_speed = 0.0;
  }
  return Wheel_speeds({left_wheel_speed, right_wheel_speed});
}

Wheel_sensors get_wheel_sensors() {
  Wheel_sensors result;
  result.left = gpio_pin_get_dt(&left_wheel_gpio);
  result.right = gpio_pin_get_dt(&right_wheel_gpio);
  return result;
}

struct None {};

template <typename T>
inline T sensor_value_to(sensor_value const& value) {
  static_assert(std::is_same_v<T, None>, "Conversion not supported");
  return 0;
}

template <>
inline float sensor_value_to<float>(sensor_value const& value) {
  return sensor_value_to_float(&value);
}

template <>
inline double sensor_value_to<double>(sensor_value const& value) {
  return sensor_value_to_double(&value);
}

static Vector3 read_sensor(device const* sensor, sensor_channel channel) {
  struct sensor_value values[3];
  Vector3 result{};

  auto ret = sensor_sample_fetch(sensor);
  if (ret < 0 && ret != -EBADMSG) {
    error(2, "Sensor sample update error.");
    return result;
  }

  ret = sensor_channel_get(sensor, channel, values);
  if (ret < 0) {
    error(2, "Cannot read sensor channels.");
    return result;
  }

  result.x = -sensor_value_to<decltype(result.x)>(values[2]);
  result.y = sensor_value_to<decltype(result.y)>(values[0]);
  result.z = sensor_value_to<decltype(result.z)>(values[1]);
  return result;
}

Vector3 get_acceleration() {
    return read_sensor(accelerometer, SENSOR_CHAN_ACCEL_XYZ);
}

Vector3 get_magfield() {
    return read_sensor(magnetometer, SENSOR_CHAN_MAGN_XYZ);
}

void initialize_sensors() {
  // Upon power on this will happen (not sure why). Will be fine after MCU reset
  if (!device_is_ready(accelerometer)) {
    printk("Accelerometer not ready.\n");
    sys_reboot(SYS_REBOOT_COLD);
    return;
  }

  if (!device_is_ready(magnetometer)) {
    error(2, "Magnetometer not ready.");
    return;
  }

  if (!gpio_is_ready_dt(&left_wheel_gpio) || !gpio_is_ready_dt(&right_wheel_gpio)) {
    error(2, "Left/Right wheel GPIO not ready.");
    return;
  }

  gpio_pin_configure_dt(&left_wheel_gpio, GPIO_INPUT);
  gpio_pin_configure_dt(&right_wheel_gpio, GPIO_INPUT);

  gpio_pin_interrupt_configure_dt(&left_wheel_gpio, GPIO_INT_EDGE_TO_ACTIVE);
  gpio_pin_interrupt_configure_dt(&right_wheel_gpio, GPIO_INT_EDGE_TO_ACTIVE);

  gpio_init_callback(&left_wheel_callback, left_wheel_irq, BIT(left_wheel_gpio.pin));
  gpio_add_callback(left_wheel_gpio.port, &left_wheel_callback);

  gpio_init_callback(&right_wheel_callback, right_wheel_irq, BIT(right_wheel_gpio.pin));
  gpio_add_callback(right_wheel_gpio.port, &right_wheel_callback);
}
```

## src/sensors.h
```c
#ifndef SLASHBITBOT_SENSORS_H__
#define SLASHBITBOT_SENSORS_H__

#include "functions.h"
#include "geometry.h"

struct Vector3 {
  Number x;
  Number y;
  Number z;
};


struct Wheel_counters {
  int left;
  int right;

  auto operator<=>(const Wheel_counters&) const = default;
  Wheel_counters& operator-=(Wheel_counters const& other) {
    left -= other.left;
    right -= other.right;
    return *this;
  }
  Wheel_counters delta(Wheel_counters const& other) {
    Wheel_counters result = other;
    result -= *this;
    *this = other;
    return result;
  }
};

inline Wheel_counters operator-(Wheel_counters const& counters1, Wheel_counters const& counters2) {
  return Wheel_counters({counters1.left - counters2.left, counters1.right - counters2.right});
}

struct Wheel_sensors {
  bool left;
  bool right;
};

struct Wheel_speeds {
  Number left;
  Number right;
  Number get_speed() {
    return 0.5 * (left + right);
  }
  Number get_rot() {
    return (left - right) / width;
  }
};

void initialize_sensors();
Wheel_counters get_wheel_counters();
Wheel_sensors get_wheel_sensors();
Wheel_speeds get_wheel_speeds();
Vector3 get_acceleration();
Vector3 get_magfield();

#endif
```
